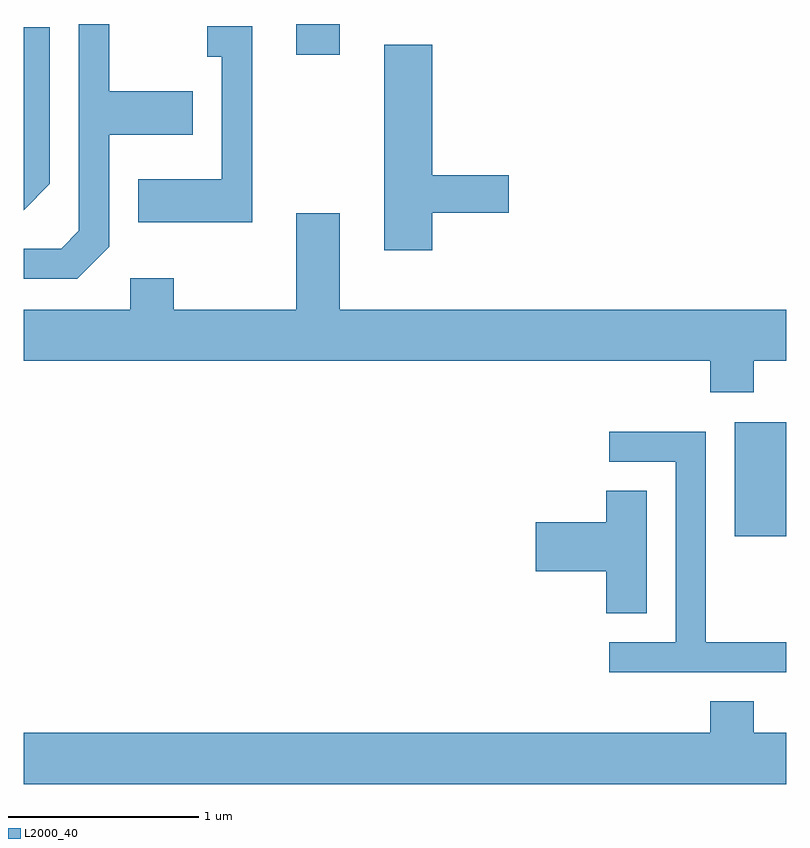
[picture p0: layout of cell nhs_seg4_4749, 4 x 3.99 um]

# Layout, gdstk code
import gdstk
lib = gdstk.Library(unit=1e-6, precision=1e-09)
def R(c, l, rs):  # rectangles x0, y0, x1, y1
    for r in rs: c.add(gdstk.rectangle(r[:2], r[2:], *l))
def P(c, l, *ps):  # polygons
    for p in ps: c.add(gdstk.Polygon(p, *l))
L2000_40 = (2000, 40)

nhs_seg4_4749 = lib.new_cell('nhs_seg4_4749')
R(nhs_seg4_4749, L2000_40, [(327.341,1369.296,327.611,1369.894), (325.041,1371.821,325.269,1371.982)])
P(nhs_seg4_4749, L2000_40, [(324.059,1370.814),(324.059,1371.401),(324.499,1371.401),(324.499,1371.629),(324.059,1371.629),(324.059,1371.982),(323.901,1371.982),(323.901,1370.897),(323.809,1370.804),(323.611,1370.804),(323.611,1370.646),(323.892,1370.646)],
  [(324.809,1371.969),(324.573,1371.969),(324.573,1371.811),(324.651,1371.811),(324.651,1371.169),(324.211,1371.169),(324.211,1370.941),(324.809,1370.941)],
  [(323.749,1371.144),(323.749,1371.964),(323.611,1371.964),(323.611,1371.005)],
  [(325.754,1370.991),(326.154,1370.991),(326.154,1371.189),(325.754,1371.189),(325.754,1371.874),(325.501,1371.874),(325.501,1370.796),(325.754,1370.796)],
  [(327.439,1370.216),(327.611,1370.216),(327.611,1370.484),(325.269,1370.484),(325.269,1370.989),(325.041,1370.989),(325.041,1370.484),(324.399,1370.484),(324.399,1370.649),(324.171,1370.649),(324.171,1370.484),(323.611,1370.484),(323.611,1370.216),(327.211,1370.216),(327.211,1370.051),(327.439,1370.051)],
  [(327.611,1368.739),(327.189,1368.739),(327.189,1369.844),(326.683,1369.844),(326.683,1369.686),(327.031,1369.686),(327.031,1368.739),(326.683,1368.739),(326.683,1368.581),(327.611,1368.581)],
  [(326.879,1369.534),(326.666,1369.534),(326.666,1369.369),(326.296,1369.369),(326.296,1369.111),(326.666,1369.111),(326.666,1368.891),(326.879,1368.891)],
  [(327.611,1368.264),(327.439,1368.264),(327.439,1368.429),(327.211,1368.429),(327.211,1368.264),(323.611,1368.264),(323.611,1367.996),(327.611,1367.996)])

lib.write_gds('nhs_seg4_4749.gds')
